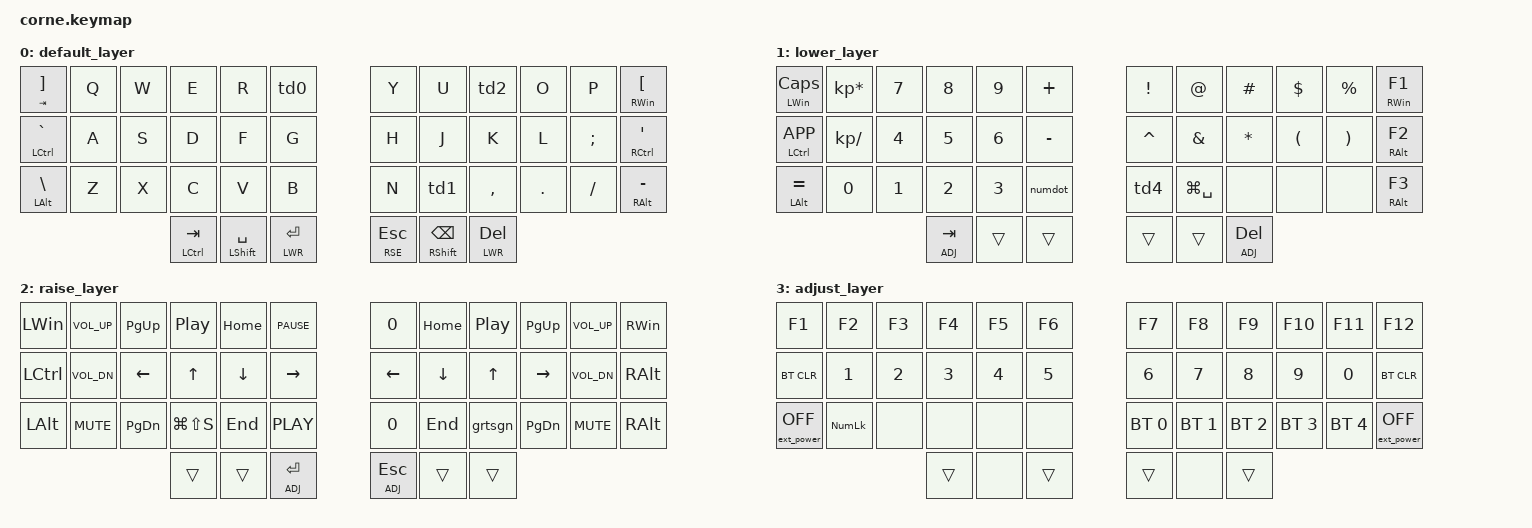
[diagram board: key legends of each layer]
/*
 * Copyright (c) 2020 The ZMK Contributors
 *
 * SPDX-License-Identifier: MIT
 */

#include <behaviors.dtsi>
#include <dt-bindings/zmk/keys.h>
#include <dt-bindings/zmk/bt.h>

#include <dt-bindings/zmk/ext_power.h>

#define DEF 0
#define LWR 1
#define RSE 2
#define ADJ 3

&lt { quick_tap_ms = <220>; };
&mt { quick_tap_ms = <220>; };
&led_strip { chain-length = <54>; };

/ {
    macros {
        numdot: numdot {
            label = "ZM_numdot";
            compatible = "zmk,behavior-macro";
            #binding-cells = <0>;
            wait-ms = <40>;
            tap-ms = <40>;
            bindings
                = <&macro_press   &kp LALT>    
                , <&macro_tap     &kp KP_N4 &kp KP_N6>    
                , <&macro_release &kp LALT>
                ;
        };
        grtsgn: grtsgn {
            label = "ZM_grtsgn";
            compatible = "zmk,behavior-macro";
            #binding-cells = <0>;
            wait-ms = <40>;
            tap-ms = <40>;
            bindings
                = <&macro_press   &kp LALT>    
                , <&macro_tap     &kp KP_N6 &kp KP_N2>    
                , <&macro_release &kp LALT>
                ;
        };
    };
};

/ {
    behaviors {
        td0: tap_dance_0 {
            compatible = "zmk,behavior-tap-dance";
            #binding-cells = <0>;
            tapping-term-ms = <200>;
            bindings = <&kp T>, <&kp GRAVE>;
        };
    };

    keymap {
        compatible = "zmk,keymap";

        default_layer {
            bindings = <
                &td0
            >;
        };
    };
};  

/ {
    behaviors {
        td1: tap_dance_1 {
            compatible = "zmk,behavior-tap-dance";
            #binding-cells = <0>;
            tapping-term-ms = <200>;
            bindings = <&kp M>, <&kp RBKT>;
        };
    };

    keymap {
        compatible = "zmk,keymap";

        default_layer {
            bindings = <
                &td1
            >;
        };
    };
};

/ {
    behaviors {
        td2: tap_dance_2 {
            compatible = "zmk,behavior-tap-dance";
            #binding-cells = <0>;
            tapping-term-ms = <200>;
            bindings = <&kp I>, <&kp LBKT>;
        };
    };

    keymap {
        compatible = "zmk,keymap";

        default_layer {
            bindings = <
                &td2
            >;
        };
    };
};

/ {
    behaviors {
        td3: tap_dance_3 {
            compatible = "zmk,behavior-tap-dance";
            #binding-cells = <0>;
            tapping-term-ms = <200>;
            bindings = <&kp I>, <&kp LBKT>;
        };
    };

    keymap {
        compatible = "zmk,keymap";

        default_layer {
            bindings = <
                &td3
            >;
        };
    };
}; 

/ {
    behaviors {
        td4: tap_dance_4 {
            compatible = "zmk,behavior-tap-dance";
            #binding-cells = <0>;
            tapping-term-ms = <200>;
            bindings = <&kp LBRC>, <&kp RBRC>;
        };
    };

    keymap {
        compatible = "zmk,keymap";

        default_layer {
            bindings = <
                &td4
            >;
        };
    };
};

/ {
        keymap {
                compatible = "zmk,keymap";

                default_layer {
// ------------------------------------------------------------------------------------------------
//| LGUI/] |  Q  |  W  |  E  |  R  |  T  |   |  Y  |  U   |  I  |  O  |  P  | RGUI/[ | 
//| CTRL/` |  A  |  S  |  D  |  F  |  G  |   |  H  |  J   |  K  |  L  |  ;  | CTRL/' |
//| LALT/\ |  Z  |  X  |  C  |  V  |  B  |   |  N  |  M   |  ,  |  .  |  /  | RALT/- |
//                             | RSE | SPC | LWR |   | LWR | BKSP | RSE |
                        bindings = <
  &mt TAB RBKT   &kp Q &kp W &kp E &kp R &td0               &kp Y  &kp U  &td2     &kp O   &kp P    &mt RWIN LBKT 
  &mt LCTRL GRAVE &kp A &kp S &kp D &kp F &kp G               &kp H  &kp J  &kp K     &kp L   &kp SEMI &mt RCTRL SQT
  &mt LALT  BSLH  &kp Z &kp X &kp C &kp V &kp B               &kp N  &td1  &kp COMMA &kp DOT &kp FSLH &mt RALT MINUS
        &mt LCTRL TAB &mt LSHFT SPACE &lt LWR RET              &lt RSE ESC &mt RSHFT BSPC &lt LWR DEL
                        >;
                };
                lower_layer {
// -----------------------------------------------------------------------------------------
//|LGUI/CAPS |  *  |  7 |  8  |  9  |  +  |    |  !  |  @  |  #  |  $  |  %  | RGUI/F1 |
//|CTRL/MENU |  /  |  4 |  5  |  6  |  -  |    |  ^  |  &  |  *  |  (  |  )  | CTRL/F2 |
//|  LALT/=  |  0  |  1 |  4  |  3  |  .  |    |  ls |  F4 |  F5 |  F6 |  F7 | RALT/F3 |
//                      | ADJ | ___ | ___ |    | ___ | ___ | ADJ |
                        bindings = <
 &mt LWIN CAPS   &kp KP_MULTIPLY  &kp N7 &kp N8   &kp N9      &kp PLUS                    &kp EXCL      &kp AT    &kp HASH   &kp DLLR  &kp PRCNT &mt RWIN F1  
 &mt LCTRL K_APP &kp KP_SLASH     &kp N4 &kp N5   &kp N6      &kp MINUS                   &kp CARET     &kp AMPS  &kp STAR   &kp LPAR  &kp RPAR  &mt RALT F2
 &mt LALT EQUAL  &kp N0           &kp N1 &kp N2   &kp N3      &numdot                     &td4    &kp LG(SPACE)    &none        &none        &none    &mt RALT F3
                                                  &lt ADJ TAB &trans &trans        &trans &trans        &lt ADJ DEL
                        >;
                };
                raise_layer {
// -----------------------------------------------------------------------------------------
//| LGUI |  VOLU  |  PGUP  | PLAY | HOME | ___  |            | ___  | HOME | PLAY| PGUP | VOLU | RGUI |
//| CTRL |  VOLD  |  LEFT  |  UP  | DOWN | RGHT |            | RGHT | DOWN | UP  | LEFT | VOLD | CTRL | 
//| LALT |  MUTE  |  PGDN  |  ___ | END  | ___  |            | ___  | END  | ___ | PGDN | MUTE | RALT |
//                          | ___ | ___  | ADJ  |            | ADJ  | ___  | ___ |
                        bindings = <
&kp LWIN   &kp C_VOL_UP   &kp PG_UP  &kp C_PP       &kp HOME &kp C_PAUSE                                 &kp N0    &kp HOME  &kp C_PP    &kp PG_UP  &kp C_VOL_UP  &kp RWIN
&kp LCTRL  &kp C_VOL_DN   &kp LEFT   &kp UP         &kp DOWN &kp RIGHT                                   &kp LEFT  &kp DOWN  &kp UP      &kp RIGHT  &kp C_VOL_DN  &kp RALT 
&kp LALT   &kp C_MUTE     &kp PG_DN  &kp LG(LS(S))  &kp END  &kp C_PLAY                                  &kp N0    &kp END   &grtsgn      &kp PG_DN  &kp C_MUTE    &kp RALT
                                                    &trans   &trans       &lt ADJ RET        &lt ADJ ESC &trans &trans
                        >; 
                };
                                adjust_layer {
// -----------------------------------------------------------------------------------------
//| BLDR |     |     |     |     |     |   |     |     |     |     |     | BLDR |
//| BTCLR| BT0 | BT1 | BT2 | BT3 | BT4 |   | BT4 | BT3 | BT2 | BT1 | BT0 | BTCLR|
//|pwrOFF|NUMLK|     |     |     |     |   |     |     |     |     |     |      |
//                   |     |     |     |   |     |     |     |
                        bindings = <
&kp F1    &kp F2    &kp F3      &kp F4    &kp F5        &kp F6                                               &kp F7   &kp F8          &kp F9    &kp F10   &kp F11 &kp F12
&bt BT_CLR            &kp N1    &kp N2    &kp N3      &kp N4    &kp N5                                       &kp N6    &kp N7   &kp N8          &kp N9    &kp N0  &bt BT_CLR
&ext_power EP_OFF     &kp KP_NUM    &none        &none        &none        &none                             &bt BT_SEL 0    &bt BT_SEL 1    &bt BT_SEL 2    &bt BT_SEL 3    &bt BT_SEL 4         &ext_power EP_OFF 
                                                              &trans       &none     &trans           &trans &none        &trans
                        >;
                };
        };
};
